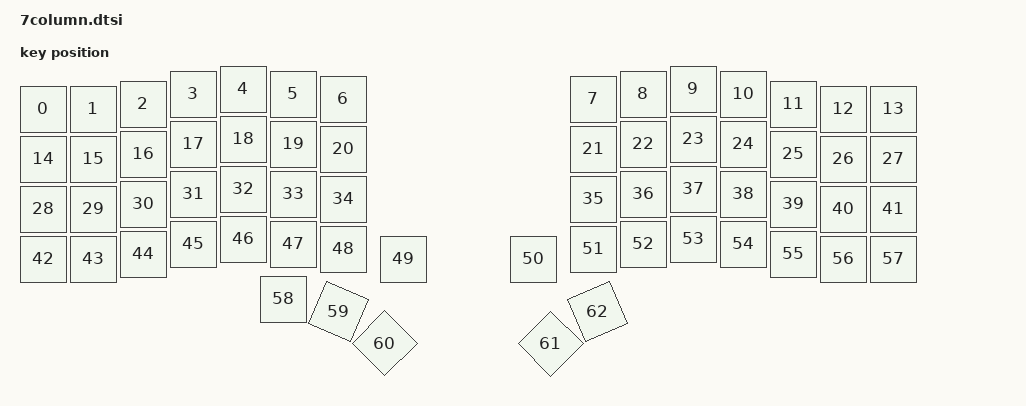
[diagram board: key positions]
#include <physical_layouts.dtsi>

/ {
    drift_7col_layout: drift_7col_layout {
        compatible = "zmk,physical-layout";
		transform = <&default_transform>;
        display-name = "7 Column";

		keys  //                     w   h    x    y     rot    rx    ry
            = <&key_physical_attrs 100 100    0   40       0     0     0>
            , <&key_physical_attrs 100 100  100   40       0     0     0>
            , <&key_physical_attrs 100 100  200   30       0     0     0>
            , <&key_physical_attrs 100 100  300   10       0     0     0>
            , <&key_physical_attrs 100 100  400    0       0     0     0>
            , <&key_physical_attrs 100 100  500   10       0     0     0>
            , <&key_physical_attrs 100 100  600   20       0     0     0>
            , <&key_physical_attrs 100 100 1100   20       0     0     0>
            , <&key_physical_attrs 100 100 1200   10       0     0     0>
            , <&key_physical_attrs 100 100 1300    0       0     0     0>
            , <&key_physical_attrs 100 100 1400   10       0     0     0>
            , <&key_physical_attrs 100 100 1500   30       0     0     0>
            , <&key_physical_attrs 100 100 1600   40       0     0     0>
            , <&key_physical_attrs 100 100 1700   40       0     0     0>
            , <&key_physical_attrs 100 100    0  140       0     0     0>
            , <&key_physical_attrs 100 100  100  140       0     0     0>
            , <&key_physical_attrs 100 100  200  130       0     0     0>
            , <&key_physical_attrs 100 100  300  110       0     0     0>
            , <&key_physical_attrs 100 100  400  100       0     0     0>
            , <&key_physical_attrs 100 100  500  110       0     0     0>
            , <&key_physical_attrs 100 100  600  120       0     0     0>
            , <&key_physical_attrs 100 100 1100  120       0     0     0>
            , <&key_physical_attrs 100 100 1200  110       0     0     0>
            , <&key_physical_attrs 100 100 1300  100       0     0     0>
            , <&key_physical_attrs 100 100 1400  110       0     0     0>
            , <&key_physical_attrs 100 100 1500  130       0     0     0>
            , <&key_physical_attrs 100 100 1600  140       0     0     0>
            , <&key_physical_attrs 100 100 1700  140       0     0     0>
            , <&key_physical_attrs 100 100    0  240       0     0     0>
            , <&key_physical_attrs 100 100  100  240       0     0     0>
            , <&key_physical_attrs 100 100  200  230       0     0     0>
            , <&key_physical_attrs 100 100  300  210       0     0     0>
            , <&key_physical_attrs 100 100  400  200       0     0     0>
            , <&key_physical_attrs 100 100  500  210       0     0     0>
            , <&key_physical_attrs 100 100  600  220       0     0     0>
            , <&key_physical_attrs 100 100 1100  220       0     0     0>
            , <&key_physical_attrs 100 100 1200  210       0     0     0>
            , <&key_physical_attrs 100 100 1300  200       0     0     0>
            , <&key_physical_attrs 100 100 1400  210       0     0     0>
            , <&key_physical_attrs 100 100 1500  230       0     0     0>
            , <&key_physical_attrs 100 100 1600  240       0     0     0>
            , <&key_physical_attrs 100 100 1700  240       0     0     0>
            , <&key_physical_attrs 100 100    0  340       0     0     0>
            , <&key_physical_attrs 100 100  100  340       0     0     0>
            , <&key_physical_attrs 100 100  200  330       0     0     0>
            , <&key_physical_attrs 100 100  300  310       0     0     0>
            , <&key_physical_attrs 100 100  400  300       0     0     0>
            , <&key_physical_attrs 100 100  500  310       0     0     0>
            , <&key_physical_attrs 100 100  600  320       0     0     0>
            , <&key_physical_attrs 100 100  720  340       0     0     0>
            , <&key_physical_attrs 100 100  980  340       0     0     0>
            , <&key_physical_attrs 100 100 1100  320       0     0     0>
            , <&key_physical_attrs 100 100 1200  310       0     0     0>
            , <&key_physical_attrs 100 100 1300  300       0     0     0>
            , <&key_physical_attrs 100 100 1400  310       0     0     0>
            , <&key_physical_attrs 100 100 1500  330       0     0     0>
            , <&key_physical_attrs 100 100 1600  340       0     0     0>
            , <&key_physical_attrs 100 100 1700  340       0     0     0>
            , <&key_physical_attrs 100 100  480  420       0     0     0>
            , <&key_physical_attrs 100 100  468  453    2300   600   800>
            , <&key_physical_attrs 100 100  474  485    4500   600   800>
            , <&key_physical_attrs 100 100 1225  485 (-4500)  1200   800>
            , <&key_physical_attrs 100 100 1232  453 (-2300)  1200   800>
        ;
    };
};
